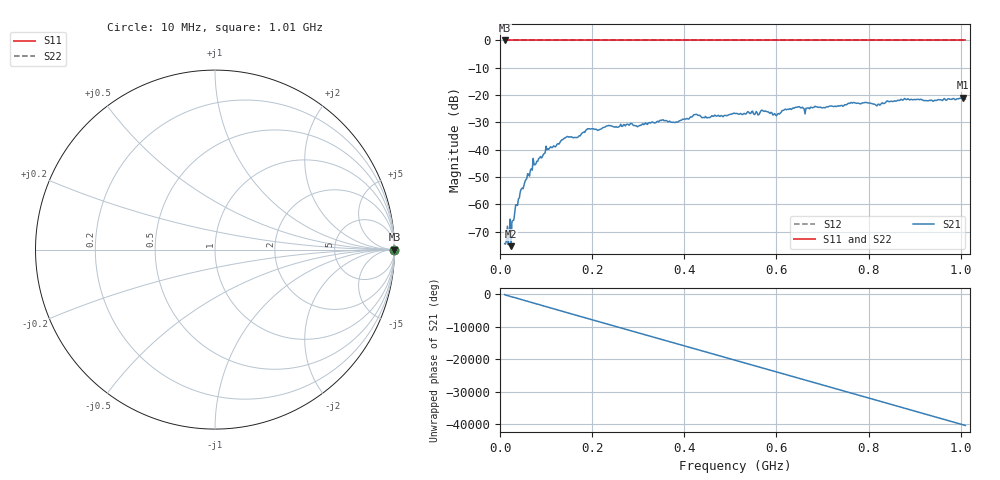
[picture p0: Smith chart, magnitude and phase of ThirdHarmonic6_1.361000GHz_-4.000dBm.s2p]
! 8/16/2025 3:21:57 PM
! C:\ANRITSUVNA\TEMP\TEMP.S2P
! CHANNEL.1
! TR.MEASUREMENT
! RAW.DATA
! RF.CORRECTION.OFF
! AVERAGING.OFF
! IF.BANDWIDTH: 5KHZ
! SWEEPTYPE:  FREQ.SWEEP(Linear)
! Reference Plane Port Info
! PORT:  PORT1  PORT2
! DISTANCE:  0  m  0  m
! TIME:  0  s  0  s
! PHASE.OFFSET:  0  deg.  0  deg.
! LOSS:  0  dB  0  dB
! REF.LOSS:  0  dB  0  dB
! REF.FREQ:  0  Hz  0  Hz
! Power Info
! POWER:  -20  dBm  -20  dBm
! EFF.POWER:  -20  dBm  -20  dBm
! SOURCE.ATTEN:  0  dB  0  dB
! TEST.ATTEN:  0  dB  0  dB
# GHZ S RI R 50.0
! FREQ.GHZ  S11RE  S11IM  S21RE  S21IM  S12RE  S12IM  S22RE  S22IM
!; PortSelection: Port_12
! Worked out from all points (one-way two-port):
!   501 points, 10 MHz to 1.01 GHz, reference 50 ohm
!   highest |S21| = -20.97 dB at 1.004 GHz (marker M1); lowest = -75.3 dB at 24 MHz (marker M2)
!   lowest |S11| = 0.0 dB at 10 MHz (marker M3)
!   |S11| at or under -10 dB: nowhere
!   |S22| runs from 0.0 to 0.0 dB; largest |S21 - S12| = 1.1
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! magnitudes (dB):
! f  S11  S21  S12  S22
! 10 MHz  0.0  -74.4  0.0  0.0
! 24 MHz  0.0  -75.3  0.0  0.0
! 28 MHz  0.0  -66.0  0.0  0.0
! 30 MHz  0.0  -65.8  0.0  0.0
! 44 MHz  0.0  -55.4  0.0  0.0
! 76 MHz  0.0  -45.5  0.0  0.0
! 104 MHz  0.0  -39.8  0.0  0.0
! 142 MHz  0.0  -35.6  0.0  0.0
! 178 MHz  0.0  -34.0  0.0  0.0
! 234 MHz  0.0  -31.3  0.0  0.0
! 298 MHz  0.0  -31.6  0.0  0.0
! 344 MHz  0.0  -29.8  0.0  0.0
! 382 MHz  0.0  -29.9  0.0  0.0
! 424 MHz  0.0  -27.1  0.0  0.0
! 510 MHz  0.0  -26.8  0.0  0.0
! 572 MHz  0.0  -25.9  0.0  0.0
! 596 MHz  0.0  -26.8  0.0  0.0
! 646 MHz  0.0  -24.4  0.0  0.0
! 678 MHz  0.0  -24.6  0.0  0.0
! 844 MHz  0.0  -22.4  0.0  0.0
! 1.004 GHz  0.0  -21.0  0.0  0.0
! 1.01 GHz  0.0  -21.5  0.0  0.0
